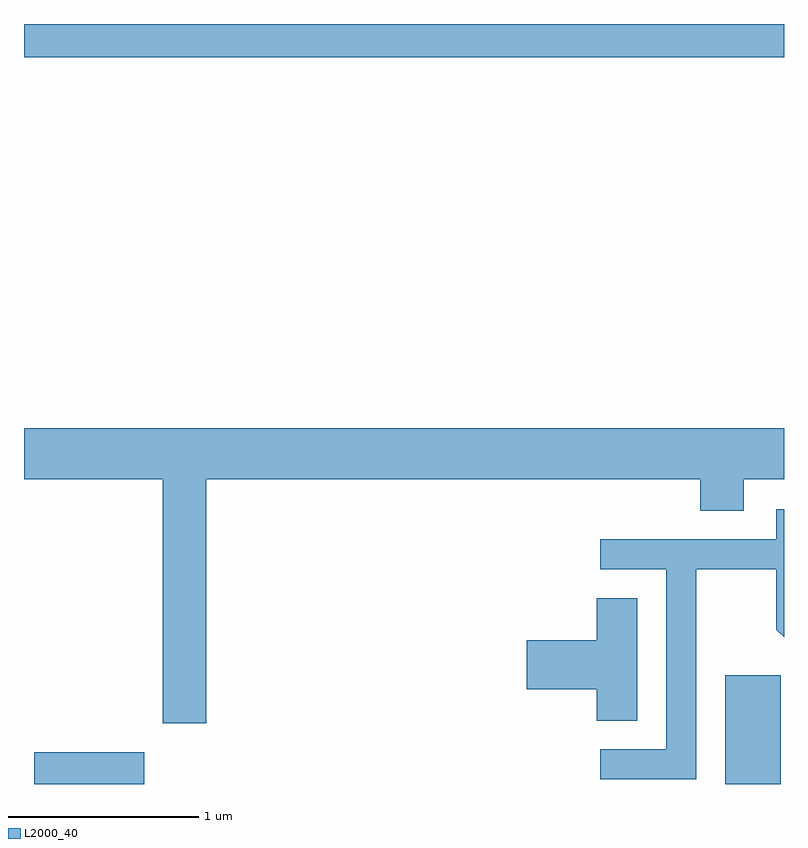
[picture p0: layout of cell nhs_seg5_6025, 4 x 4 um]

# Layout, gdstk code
import gdstk
lib = gdstk.Library(unit=1e-6, precision=1e-09)
def R(c, l, rs):  # rectangles x0, y0, x1, y1
    for r in rs: c.add(gdstk.rectangle(r[:2], r[2:], *l))
def P(c, l, *ps):  # polygons
    for p in ps: c.add(gdstk.Polygon(p, *l))
L2000_40 = (2000, 40)

nhs_seg5_6025 = lib.new_cell('nhs_seg5_6025')
R(nhs_seg5_6025, L2000_40, [(363.666,1464.072,364.244,1464.239), (367.301,1464.072,367.594,1464.644), (363.611,1467.896,367.611,1468.072)])
P(nhs_seg5_6025, L2000_40, [(364.569,1465.676),(367.171,1465.676),(367.171,1465.511),(367.399,1465.511),(367.399,1465.676),(367.611,1465.676),(367.611,1465.944),(363.611,1465.944),(363.611,1465.676),(364.341,1465.676),(364.341,1464.391),(364.569,1464.391)],
  [(367.149,1465.201),(367.571,1465.201),(367.571,1464.884),(367.611,1464.844),(367.611,1465.519),(367.571,1465.519),(367.571,1465.359),(366.643,1465.359),(366.643,1465.201),(366.991,1465.201),(366.991,1464.254),(366.643,1464.254),(366.643,1464.096),(367.149,1464.096)],
  [(366.839,1465.049),(366.626,1465.049),(366.626,1464.829),(366.256,1464.829),(366.256,1464.571),(366.626,1464.571),(366.626,1464.406),(366.839,1464.406)])

lib.write_gds('nhs_seg5_6025.gds')
